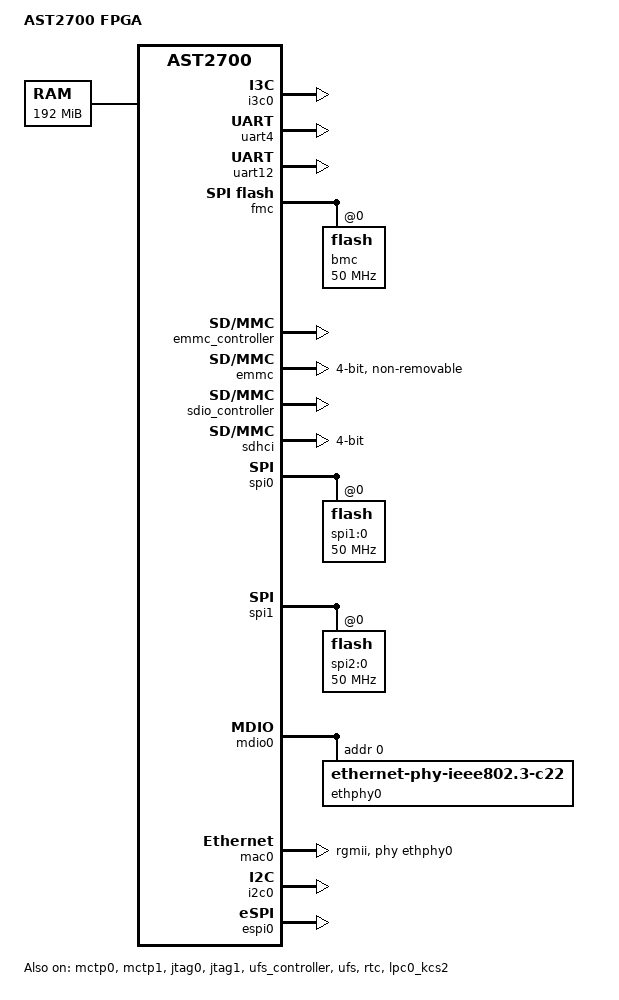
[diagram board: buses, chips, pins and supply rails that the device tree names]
// SPDX-License-Identifier: GPL-2.0-or-later

/dts-v1/;

#include "aspeed-g7.dtsi"
#include <dt-bindings/gpio/aspeed-gpio.h>

/ {
	model = "AST2700 FPGA";
	compatible = "aspeed,ast2700-fpga", "aspeed,ast2700";

	chosen {
		bootargs = "console=ttyS12,115200n8";
		stdout-path = &uart12;
	};

	firmware {
		optee: optee {
			compatible = "linaro,optee-tz";
			method = "smc";
		};
	};

	memory@400000000 {
		device_type = "memory";
		reg = <0x4 0x00000000 0x0 0x0c000000>;
	};

	reserved-memory {
		#address-cells = <2>;
		#size-cells = <2>;
		ranges;

		bmc_dev_memory: bmc_dev_memory {
			size = <0x0 0x00100000>;
			alignment = <0x0 0x00100000>;
			compatible = "shared-dma-pool";
			no-map;
		};

		mctp0_reserved: mctp0_reserved@40a000000 {
			reg = <0x4 0x0a000000 0x0 0x10000>;
			compatible = "shared-dma-pool";
			no-map;
		};

		mctp1_reserved: mctp1_reserved@40a010000 {
			reg = <0x4 0x0a010000 0x0 0x10000>;
			compatible = "shared-dma-pool";
			no-map;
		};

	};
};

&mctp0 {
	status = "okay";
	memory-region = <&mctp0_reserved>;
};

&mctp1 {
	status = "okay";
	memory-region = <&mctp1_reserved>;
};

&i3c0 {
	status = "okay";
};

&jtag0 {
	status = "okay";
};

&jtag1 {
	status = "okay";
};

&uart4 {
	status = "okay";
};

&uart12 {
	clock-frequency = <1846154>;
	status = "okay";
};

&fmc {
	status = "okay";
	flash@0 {
		status = "okay";
		m25p,fast-read;
		label = "bmc";
		spi-rx-bus-width = <4>;
		spi-max-frequency = <50000000>;
#include "fpga-flash-layout.dtsi"
	};

	flash@1 {
		status = "disabled";
		m25p,fast-read;
		label = "fmc0:1";
		spi-max-frequency = <50000000>;
		spi-tx-bus-width = <4>;
		spi-rx-bus-width = <4>;
	};

	flash@2 {
		status = "disabled";
		m25p,fast-read;
		label = "fmc0:2";
		spi-max-frequency = <50000000>;
		spi-tx-bus-width = <4>;
		spi-rx-bus-width = <4>;
	};
};

&emmc_controller {
	status = "okay";
};

&emmc {
	status = "okay";
#if 1
	bus-width = <4>;
#else
	bus-width = <8>;
	pinctrl-0 = <&pinctrl_emmc_default
			&pinctrl_emmcg8_default>;
#endif
	non-removable;
	//mmc-hs200-1_8v;
	max-frequency = <100000000>;
};

&sdio_controller {
	status = "okay";
	aspeed-max-tap-delay = <9000>;
};

&sdhci {
	status = "okay";
	bus-width = <4>;
	max-frequency = <100000000>;
	sdhci-drive-type = /bits/ 8 <3>;
	/* SDR104/DDR50 bits in CAPA2 are not supported */
	sdhci-caps-mask = <0x6 0x0>;
	sdhci,wp-inverted;
	//    vmmc-supply = <&vcc_sdhci0>;
	//    vqmmc-supply = <&vccq_sdhci0>;
	/* <0 (MHz * 1.296)>, <1 (MHz * 2.376)> */
	clk-phase-uhs-sdr50 = <0 130>, <0 238>;
};

&ufs_controller {
	status = "okay";
};

&ufs {
	status = "okay";
	lanes-per-direction = <2>;
};

&spi0 {
	fmc-spi-user-mode;
	status = "okay";

	flash@0 {
		status = "okay";
		m25p,fast-read;
		label = "spi1:0";
		spi-max-frequency = <50000000>;
		spi-tx-bus-width = <4>;
		spi-rx-bus-width = <4>;
	};

	flash@1 {
		status = "disabled";
		m25p,fast-read;
		label = "spi1:1";
		spi-max-frequency = <50000000>;
		spi-tx-bus-width = <4>;
		spi-rx-bus-width = <4>;
	};
};

&spi1 {
	fmc-spi-user-mode;
	status = "okay";

	flash@0 {
		status = "okay";
		m25p,fast-read;
		label = "spi2:0";
		spi-max-frequency = <50000000>;
		spi-tx-bus-width = <4>;
		spi-rx-bus-width = <4>;
	};

	flash@1 {
		status = "disabled";
		m25p,fast-read;
		label = "spi2:1";
		spi-max-frequency = <50000000>;
		spi-tx-bus-width = <4>;
		spi-rx-bus-width = <4>;
	};
};

&mdio0 {
	status = "okay";
	#address-cells = <1>;
	#size-cells = <0>;

	ethphy0: ethernet-phy@0 {
		compatible = "ethernet-phy-ieee802.3-c22";
		reg = <0>;
	};
};

&mac0 {
	status = "okay";

	phy-mode = "rgmii";
	phy-handle = <&ethphy0>;
};

&i2c0 {
	status = "okay";
};

&rtc {
	status = "okay";
};

&espi0 {
	status = "okay";
	perif-dma-mode;
	oob-dma-mode;
	flash-dma-mode;
};

&lpc0_kcs2 {
	status = "okay";
	kcs-io-addr = <0xca2>;
	kcs-channel = <2>;
};

#if 0
&bmc_dev0 {
	status = "okay";
	memory-region = <&bmc_dev_memory>;
};

&pcie0_vuart0 {
	port = <0x3f8>;
	sirq = <4>;
	sirq-polarity = <0>;

	status = "okay";
};

&pcie0_vuart1 {
	port = <0x2f8>;
	sirq = <3>;
	sirq-polarity = <0>;

	status = "okay";
};

&pcie0_kcs0 {
	status = "okay";
	kcs-io-addr = <0x3a0>;
	kcs-channel = <8>;
};

&pcie0_kcs1 {
	status = "okay";
	kcs-io-addr = <0x3a8>;
	kcs-channel = <9>;
};

&pcie0_kcs2 {
	status = "okay";
	kcs-io-addr = <0x3a2>;
	kcs-channel = <10>;
};

&pcie0_kcs3 {
	status = "okay";
	kcs-io-addr = <0x3a4>;
	kcs-channel = <11>;
};

&pcie0_ibt {
	status = "okay";
};

#endif
